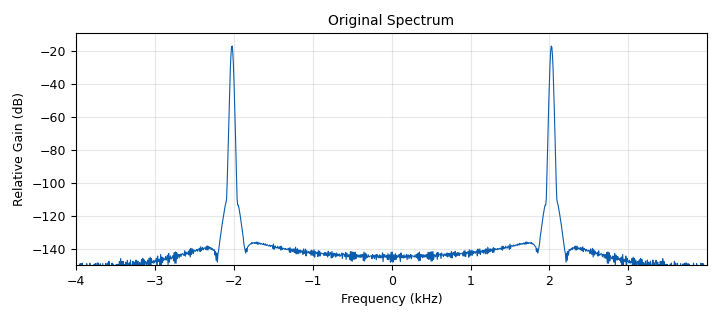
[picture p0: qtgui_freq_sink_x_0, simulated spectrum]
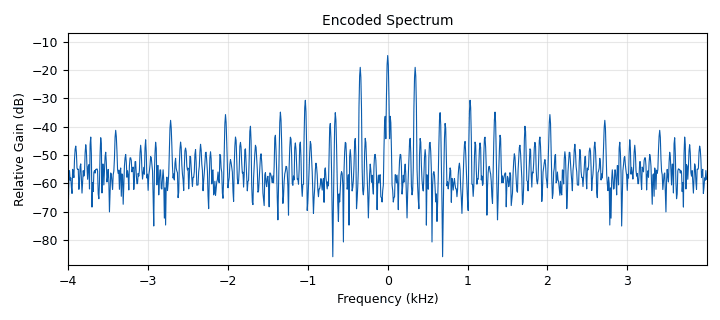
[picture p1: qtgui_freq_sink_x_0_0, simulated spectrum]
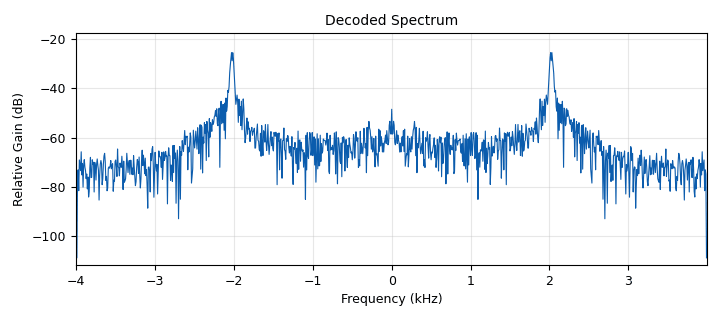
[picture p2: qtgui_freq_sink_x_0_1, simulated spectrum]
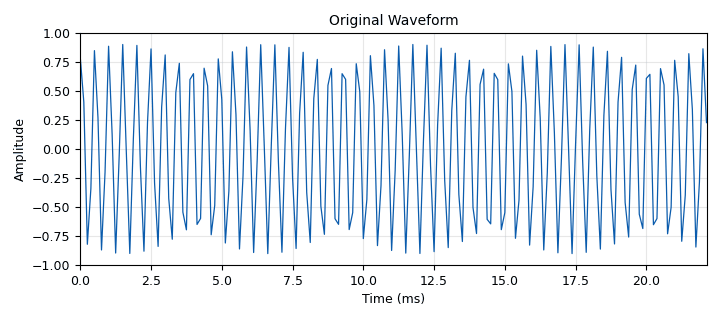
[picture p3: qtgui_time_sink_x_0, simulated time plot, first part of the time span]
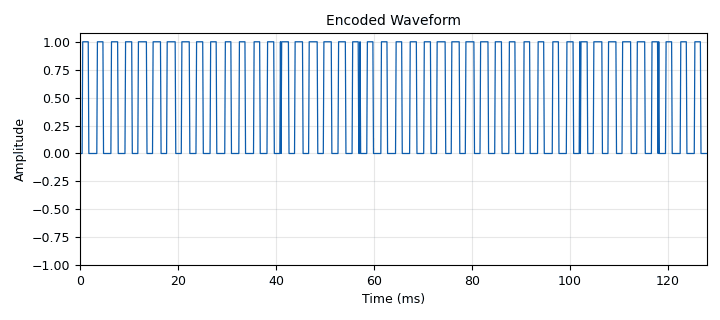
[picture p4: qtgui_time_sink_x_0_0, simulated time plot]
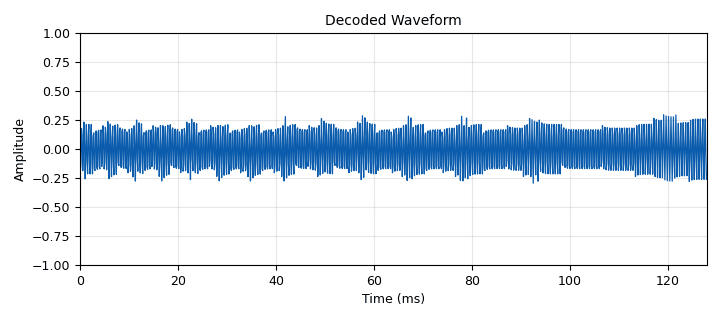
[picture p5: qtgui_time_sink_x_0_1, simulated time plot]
options:
  parameters:
    category: Custom
    generate_options: qt_gui
    id: cvsd_sweep
    output_language: python
    title: CVSD Vocoder Test
  states: {}

blocks:
- name: audio_rate
  id: variable
  parameters:
    value: '8000'
  states: {}
- name: bw
  id: variable
  parameters:
    value: '0.5'
  states: {}
- name: resample
  id: variable
  parameters:
    value: '8'
  states: {}
- name: analog_sig_source_x_0
  id: analog_sig_source_x
  parameters:
    amp: '0.5'
    freq: '0.05'
    offset: '0'
    phase: '0'
    samp_rate: audio_rate
    type: float
    waveform: analog.GR_TRI_WAVE
  states: {}
- name: audio_sink
  id: audio_sink
  parameters:
    samp_rate: audio_rate
  states: {}
- name: c2f
  id: blocks_char_to_float
  parameters:
    scale: '1'
  states: {}
- name: displays
  id: qtgui_tab_widget
  parameters:
    label0: Original
    label1: Encoded
    label2: Decoded
    num_tabs: '3'
  states: {}
- name: enc
  id: vocoder_cvsd_encode_fb
  parameters:
    bw: bw
    resample: resample
  states: {}
- name: import_0
  id: import
  parameters:
    imports: import math
  states: {}
- name: p2u
  id: blocks_packed_to_unpacked_xx
  parameters:
    bits_per_chunk: '1'
    endianness: gr.GR_MSB_FIRST
    type: byte
  states: {}
- name: qtgui_freq_sink_x_0
  id: qtgui_freq_sink_x
  parameters:
    autoscale: 'True'
    bw: audio_rate
    fc: '0'
    fftsize: '1024'
    gui_hint: displays@0:0,0,1,1
    name: Original Spectrum
    showports: 'True'
    type: float
  states: {}
- name: qtgui_freq_sink_x_0_0
  id: qtgui_freq_sink_x
  parameters:
    autoscale: 'True'
    bw: audio_rate
    fc: '0'
    fftsize: '1024'
    gui_hint: displays@1:0,0,1,1
    name: Encoded Spectrum
    showports: 'True'
    type: float
  states: {}
- name: qtgui_freq_sink_x_0_1
  id: qtgui_freq_sink_x
  parameters:
    autoscale: 'True'
    bw: audio_rate
    fc: '0'
    fftsize: '1024'
    gui_hint: displays@2:0,0,1,1
    name: Decoded Spectrum
    showports: 'True'
    type: float
    wintype: window.WIN_RECTANGULAR
  states: {}
- name: qtgui_time_sink_x_0
  id: qtgui_time_sink_x
  parameters:
    gui_hint: displays@0:1,0,1,1
    label1: ''
    name: Original Waveform
    size: '1024'
    srate: audio_rate
    type: float
  states: {}
- name: qtgui_time_sink_x_0_0
  id: qtgui_time_sink_x
  parameters:
    gui_hint: displays@1:1,0,1,1
    label1: ''
    name: Encoded Waveform
    size: '1024'
    srate: audio_rate
    type: float
  states: {}
- name: qtgui_time_sink_x_0_1
  id: qtgui_time_sink_x
  parameters:
    gui_hint: displays@2:1,0,1,1
    label1: ''
    name: Decoded Waveform
    size: '1024'
    srate: audio_rate
    type: float
  states: {}
- name: throttle
  id: blocks_throttle
  parameters:
    samples_per_second: audio_rate
    type: float
  states: {state: bypassed}
- name: variable_qtgui_azelplot_0
  id: variable_qtgui_azelplot
  parameters: {}
  states: {state: disabled}
- name: variable_qtgui_distanceradar_0
  id: variable_qtgui_distanceradar
  parameters:
    ticklabels: '[''20'', ''40'', ''60'', ''80'', ''100'']'
  states: {state: disabled}
- name: vco
  id: blocks_vco_f
  parameters:
    amplitude: '0.9'
    samp_rate: audio_rate
    sensitivity: audio_rate*2*math.pi
  states: {}
- name: vocoder_cvsd_decode_bf_0
  id: vocoder_cvsd_decode_bf
  parameters:
    bw: bw
    resample: resample
  states: {}

connections:
- [analog_sig_source_x_0, '0', throttle, '0']
- [c2f, '0', qtgui_freq_sink_x_0_0, '0']
- [c2f, '0', qtgui_time_sink_x_0_0, '0']
- [enc, '0', p2u, '0']
- [enc, '0', vocoder_cvsd_decode_bf_0, '0']
- [p2u, '0', c2f, '0']
- [throttle, '0', vco, '0']
- [vco, '0', enc, '0']
- [vco, '0', qtgui_freq_sink_x_0, '0']
- [vco, '0', qtgui_time_sink_x_0, '0']
- [vocoder_cvsd_decode_bf_0, '0', audio_sink, '0']
- [vocoder_cvsd_decode_bf_0, '0', qtgui_freq_sink_x_0_1, '0']
- [vocoder_cvsd_decode_bf_0, '0', qtgui_time_sink_x_0_1, '0']

metadata:
  file_format: 1
